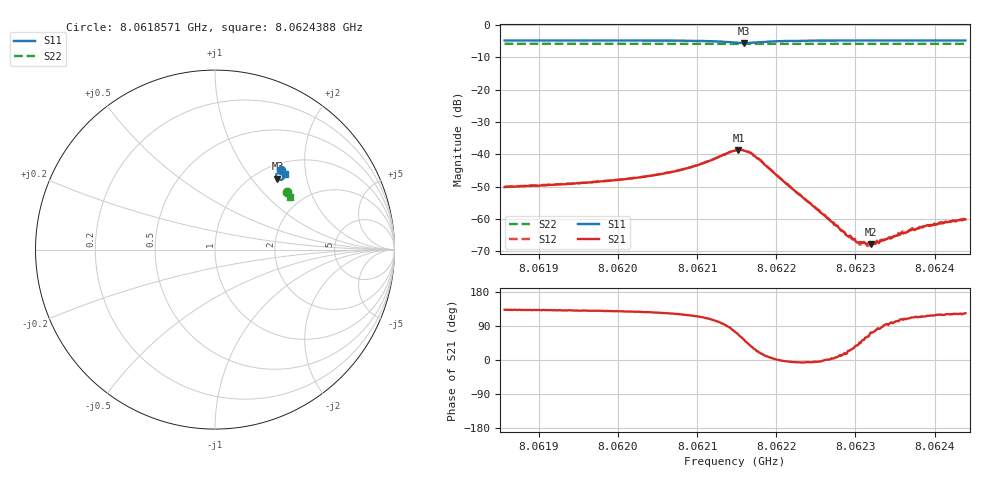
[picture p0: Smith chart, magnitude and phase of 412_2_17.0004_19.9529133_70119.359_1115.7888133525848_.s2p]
#  HZ  S  RI  R  50.00
! Rohde & Schwarz Vector Network Analyzer
! Rohde-Schwarz,ZNB20-2Port,1311601062101988,3.16
! Created: UTC 3/20/2024, 11:10:36 PM
! freq[Hz]  re:S11  im:S11  re:S21  im:S21  re:S12  im:S12  re:S22  im:S22
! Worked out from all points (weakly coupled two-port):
!   401 points, 8.0618571 GHz to 8.0624388 GHz, reference 50 ohm
!   highest |S21| = -38.67 dB at 8.0621523 GHz (marker M1); lowest = -67.8 dB at 8.0623196 GHz (marker M2)
!   lowest |S11| = -5.6 dB at 8.0621596 GHz (marker M3), VSWR 3.22, Z = 62.3 + j68 ohm
!   |S11| at or under -10 dB: nowhere
!   |S22| runs from -5.9 to -5.8 dB; largest |S21 - S12| = 0.00084
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8.06185708e9  0.3679 0.4433  -0.0021 0.00227  -0.002 0.00242  0.3994 0.3202
8.06195453e9  0.3749 0.437  -0.00235 0.00273  -0.00216 0.00288  0.403 0.3154
8.06200398e9  0.3787 0.433  -0.00252 0.00317  -0.00235 0.00335  0.4049 0.3127
8.06205197e9  0.3829 0.4272  -0.00278 0.00399  -0.00258 0.00421  0.4067 0.3101
8.06209851e9  0.3871 0.4163  -0.00288 0.00599  -0.00253 0.00621  0.4082 0.3075
8.06214796e9  0.3661 0.3887  0.00315 0.011  0.00372 0.0108  0.4086 0.3041
8.06215233e9  0.3593 0.389  0.00467 0.0107  0.00516 0.0104  0.4084 0.3041
8.0621596e9  0.3482 0.3945  0.00683 0.00902  0.00744 0.0088  0.4082 0.3041
8.06216687e9  0.3415 0.4046  0.0082 0.00661  0.00867 0.00624  0.4084 0.3042
8.06217705e9  0.3413 0.4191  0.00792 0.00329  0.00828 0.00276  0.4088 0.3045
8.06220759e9  0.3591 0.435  0.00396 -0.000146  0.00401 -0.000374  0.4109 0.3034
8.06224541e9  0.3715 0.4346  0.00161 -0.00016  0.00163 -0.000276  0.4127 0.3014
8.06228758e9  0.3788 0.4316  0.000561 0.000155  0.000552 0.00014  0.4145 0.2993
8.0622934e9  0.3796 0.4315  0.000493 0.000246  0.000481 0.000194  0.4145 0.2989
8.06230067e9  0.3803 0.4308  0.000348 0.000267  0.000394 0.000244  0.4149 0.2984
8.06230795e9  0.3813 0.4304  0.000271 0.000329  0.000281 0.000338  0.4151 0.298
8.06231958e9  0.3825 0.4297  0.000119 0.000389  0.000154 0.000358  0.4157 0.2975
8.06232685e9  0.3832 0.4291  7.09e-05 0.000443  0.000132 0.000441  0.416 0.2971
8.06234285e9  0.3847 0.4282  -5.11e-05 0.000499  -1.06e-05 0.000522  0.4165 0.2963
8.06236176e9  0.3864 0.4269  -0.000203 0.000579  -0.000159 0.000608  0.4172 0.2953
8.06238939e9  0.3885 0.4252  -0.000343 0.000707  -0.000292 0.000732  0.4181 0.294
8.06243884e9  0.3921 0.4224  -0.000541 0.000817  -0.000485 0.000866  0.4199 0.2913
